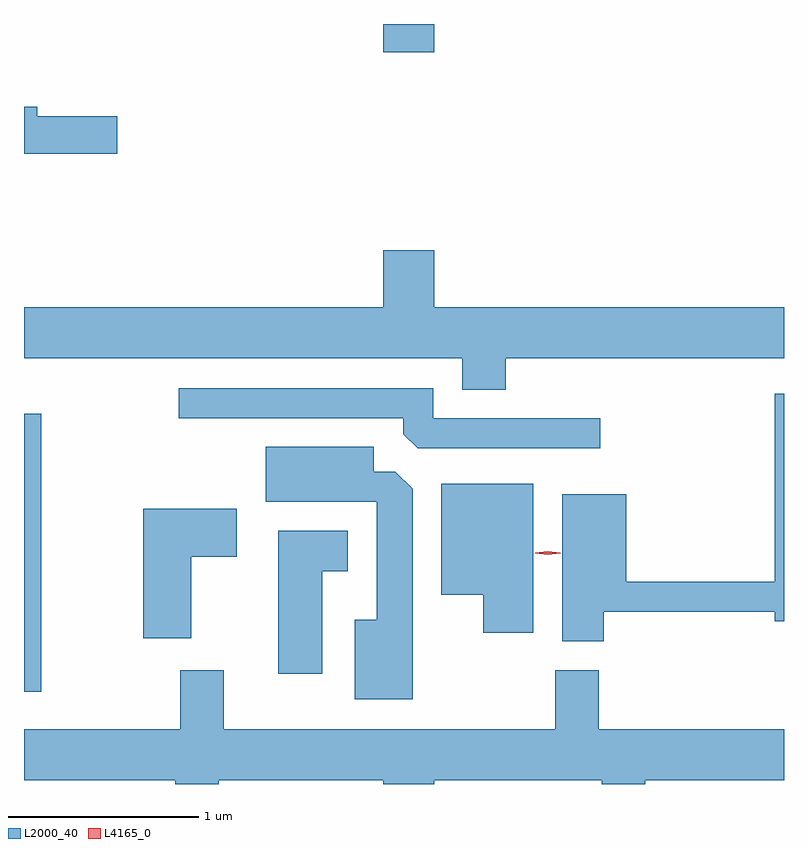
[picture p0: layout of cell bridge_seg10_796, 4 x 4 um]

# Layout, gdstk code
import gdstk
lib = gdstk.Library(unit=1e-6, precision=1e-09)
def R(c, l, rs):  # rectangles x0, y0, x1, y1
    for r in rs: c.add(gdstk.rectangle(r[:2], r[2:], *l))
def P(c, l, *ps):  # polygons
    for p in ps: c.add(gdstk.Polygon(p, *l))
L2000_40 = (2000, 40)
L4165_0 = (4165, 0)

bridge_seg10_796 = lib.new_cell('bridge_seg10_796')
R(bridge_seg10_796, L2000_40, [(293.104,2158.781,293.194,2160.244), (294.996,2162.146,295.264,2162.295)])
P(bridge_seg10_796, L2000_40, [(293.594,2161.809),(293.174,2161.809),(293.174,2161.859),(293.104,2161.859),(293.104,2161.611),(293.594,2161.611)],
  [(295.639,2160.536),(297.104,2160.536),(297.104,2160.804),(295.264,2160.804),(295.264,2161.104),(294.996,2161.104),(294.996,2160.804),(293.104,2160.804),(293.104,2160.536),(295.411,2160.536),(295.411,2160.371),(295.639,2160.371)],
  [(296.138,2160.219),(295.259,2160.219),(295.259,2160.379),(293.918,2160.379),(293.918,2160.221),(295.101,2160.221),(295.101,2160.137),(295.177,2160.061),(296.138,2160.061)],
  [(296.154,2159.201),(297.056,2159.201),(297.056,2159.151),(297.104,2159.151),(297.104,2160.349),(297.056,2160.349),(297.056,2159.359),(296.274,2159.359),(296.274,2159.819),(295.936,2159.819),(295.936,2159.046),(296.154,2159.046)],
  [(295.149,2159.849),(295.059,2159.939),(294.944,2159.939),(294.944,2160.069),(294.376,2160.069),(294.376,2159.781),(294.961,2159.781),(294.961,2159.159),(294.846,2159.159),(294.846,2158.741),(295.149,2158.741)],
  [(295.784,2159.874),(295.301,2159.874),(295.301,2159.291),(295.521,2159.291),(295.521,2159.091),(295.784,2159.091)],
  [(293.984,2159.491),(294.224,2159.491),(294.224,2159.744),(293.731,2159.744),(293.731,2159.061),(293.984,2159.061)],
  [(294.674,2159.416),(294.809,2159.416),(294.809,2159.629),(294.441,2159.629),(294.441,2158.876),(294.674,2158.876)],
  [(294.129,2158.316),(294.996,2158.316),(294.996,2158.295),(295.264,2158.295),(295.264,2158.316),(296.146,2158.316),(296.146,2158.295),(296.374,2158.295),(296.374,2158.316),(297.104,2158.316),(297.104,2158.584),(296.129,2158.584),(296.129,2158.894),(295.901,2158.894),(295.901,2158.584),(294.154,2158.584),(294.154,2158.894),(293.926,2158.894),(293.926,2158.584),(293.104,2158.584),(293.104,2158.316),(293.901,2158.316),(293.901,2158.295),(294.129,2158.295)])
P(bridge_seg10_796, L4165_0, [(295.861,2159.501),(295.794,2159.51),(295.794,2159.511),(295.794,2159.512),(295.861,2159.521),(295.927,2159.511),(295.928,2159.51),(295.927,2159.51)])

lib.write_gds('bridge_seg10_796.gds')
